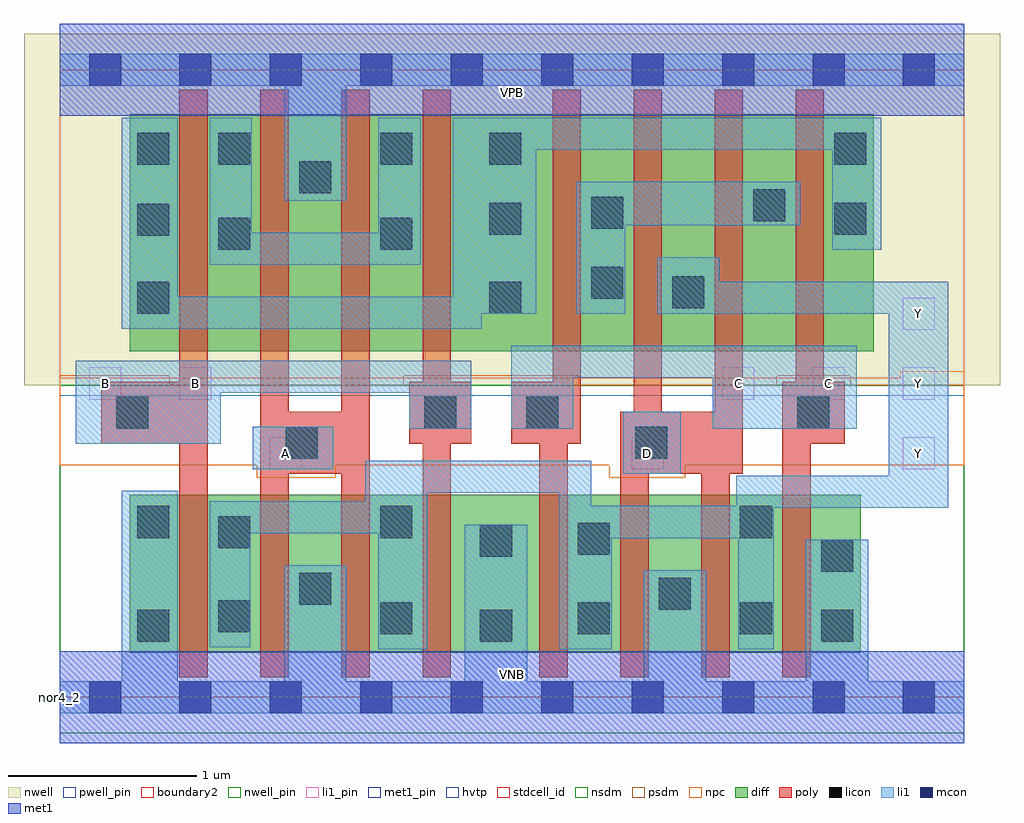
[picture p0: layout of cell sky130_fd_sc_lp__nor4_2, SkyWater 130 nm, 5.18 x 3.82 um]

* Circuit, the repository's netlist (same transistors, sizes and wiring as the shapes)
* Copyright 2020 The SkyWater PDK Authors
*
* Licensed under the Apache License, Version 2.0 (the "License");
* you may not use this file except in compliance with the License.
* You may obtain a copy of the License at
*
*     https://www.apache.org/licenses/LICENSE-2.0
*
* Unless required by applicable law or agreed to in writing, software
* distributed under the License is distributed on an "AS IS" BASIS,
* WITHOUT WARRANTIES OR CONDITIONS OF ANY KIND, either express or implied.
* See the License for the specific language governing permissions and
* limitations under the License.
*
* SPDX-License-Identifier: Apache-2.0

.SUBCKT sky130_fd_sc_lp__nor4_2 A B C D VGND VNB VPB VPWR Y
*.PININFO A:I B:I C:I D:I VGND:I VNB:I VPB:I VPWR:I Y:O
MMP0 VPWR A sndPA VPB sky130_fd_pr__pfet_01v8_hvt m=2 w=1.26U l=0.15U mult=1 sa=0.265
+ sb=0.265 sd=0.28 area=0.028 perim=0.76
MMP1 sndPA B sndPB VPB sky130_fd_pr__pfet_01v8_hvt m=2 w=1.26U l=0.15U mult=1 sa=0.265
+ sb=0.265 sd=0.28 area=0.028 perim=0.76
MMP2 sndPB C sndPC VPB sky130_fd_pr__pfet_01v8_hvt m=2 w=1.26U l=0.15U mult=1 sa=0.265
+ sb=0.265 sd=0.28 area=0.028 perim=0.76
MMP3 sndPC D Y VPB sky130_fd_pr__pfet_01v8_hvt m=2 w=1.26U l=0.15U mult=1 sa=0.265
+ sb=0.265 sd=0.28 area=0.028 perim=0.76
MMN0 Y A VGND VNB sky130_fd_pr__nfet_01v8 m=2 w=0.84U l=0.15U mult=1 sa=0.265 sb=0.265
+ sd=0.28 area=0.028 perim=0.76
MMN1 Y B VGND VNB sky130_fd_pr__nfet_01v8 m=2 w=0.84U l=0.15U mult=1 sa=0.265 sb=0.265
+ sd=0.28 area=0.028 perim=0.76
MMN2 Y C VGND VNB sky130_fd_pr__nfet_01v8 m=2 w=0.84U l=0.15U mult=1 sa=0.265 sb=0.265
+ sd=0.28 area=0.028 perim=0.76
MMN3 Y D VGND VNB sky130_fd_pr__nfet_01v8 m=2 w=0.84U l=0.15U mult=1 sa=0.265 sb=0.265
+ sd=0.28 area=0.028 perim=0.76
.ENDS sky130_fd_sc_lp__nor4_2

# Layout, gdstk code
import gdstk
lib = gdstk.Library(unit=1e-6, precision=1e-09)
def R(c, l, rs):  # rectangles x0, y0, x1, y1
    for r in rs: c.add(gdstk.rectangle(r[:2], r[2:], *l))
def A(c, l, x, y, w, h, nx, ny, dx, dy):  # array of equal rectangles
    R(c, l, [(x+i*dx, y+j*dy, x+i*dx+w, y+j*dy+h) for i in range(nx) for j in range(ny)])
def P(c, l, *ps):  # polygons
    for p in ps: c.add(gdstk.Polygon(p, *l))
nwell_pin = (64, 16)
nwell = (64, 20)
diff = (65, 20)
poly = (66, 20)
licon = (66, 44)
li1_pin = (67, 16)
li1 = (67, 20)
mcon = (67, 44)
met1_pin = (68, 16)
met1 = (68, 20)
hvtp = (78, 44)
stdcell_id = (81, 4)
nsdm = (93, 44)
psdm = (94, 20)
npc = (95, 20)
pwell_pin = (122, 16)
boundary2 = (236, 0)

sky130_fd_sc_lp__nor4_2 = lib.new_cell('sky130_fd_sc_lp__nor4_2')
R(sky130_fd_sc_lp__nor4_2, nwell_pin, [(0,3.085,4.8,3.33)])
R(sky130_fd_sc_lp__nor4_2, nwell, [(-0.19,1.655,4.99,3.52)])
R(sky130_fd_sc_lp__nor4_2, diff, [(0.37,0.235,4.25,1.075), (0.37,1.835,4.32,3.095)])
P(sky130_fd_sc_lp__nor4_2, poly, [(0.785,3.225),(0.635,3.225),(0.635,1.675),(0.22,1.675),(0.22,1.345),(0.635,1.345),(0.635,0.105),(0.785,0.105)],
  [(1.645,3.225),(1.495,3.225),(1.495,1.515),(1.215,1.515),(1.215,3.225),(1.065,3.225),(1.065,0.105),(1.215,0.105),(1.215,1.185),(1.495,1.185),(1.495,0.105),(1.645,0.105)],
  [(2.185,1.675),(2.075,1.675),(2.075,3.225),(1.925,3.225),(1.925,1.675),(1.855,1.675),(1.855,1.345),(1.925,1.345),(1.925,0.105),(2.075,0.105),(2.075,1.345),(2.185,1.345)],
  [(2.765,1.345),(2.765,3.225),(2.615,3.225),(2.615,1.675),(2.395,1.675),(2.395,1.345),(2.545,1.345),(2.545,0.105),(2.695,0.105),(2.695,1.345)],
  [(3.625,3.225),(3.475,3.225),(3.475,1.515),(3.195,1.515),(3.195,3.225),(3.045,3.225),(3.045,1.515),(2.975,1.515),(2.975,0.105),(3.125,0.105),(3.125,1.185),(3.405,1.185),(3.405,0.105),(3.555,0.105),(3.555,1.185),(3.625,1.185)],
  [(4.165,1.675),(4.055,1.675),(4.055,3.225),(3.905,3.225),(3.905,1.675),(3.835,1.675),(3.835,0.105),(3.985,0.105),(3.985,1.345),(4.165,1.345)])
R(sky130_fd_sc_lp__nor4_2, licon, [(0.41,0.295,0.58,0.465), (2.23,0.295,2.4,0.465), (4.04,0.295,4.21,0.465), (1.7,0.335,1.87,0.505), (2.75,0.335,2.92,0.505), (3.61,0.335,3.78,0.505), (0.84,0.345,1.01,0.515), (3.18,0.465,3.35,0.635), (1.27,0.49,1.44,0.66), (4.04,0.665,4.21,0.835), (2.23,0.745,2.4,0.915), (2.75,0.755,2.92,0.925), (0.84,0.79,1.01,0.96), (0.41,0.845,0.58,1.015), (1.7,0.845,1.87,1.015), (3.61,0.845,3.78,1.015), (1.2,1.265,1.37,1.435), (3.055,1.265,3.225,1.435), (0.3,1.425,0.47,1.595), (1.935,1.425,2.105,1.595), (2.475,1.425,2.645,1.595), (3.915,1.425,4.085,1.595), (0.41,2.035,0.58,2.205), (2.28,2.035,2.45,2.205), (3.25,2.065,3.42,2.235), (2.82,2.115,2.99,2.285), (0.84,2.375,1.01,2.545), (1.7,2.375,1.87,2.545), (0.41,2.45,0.58,2.62), (2.28,2.455,2.45,2.625), (4.11,2.455,4.28,2.625), (2.82,2.485,2.99,2.655), (3.68,2.525,3.85,2.695), (1.27,2.675,1.44,2.845), (0.41,2.825,0.58,2.995), (0.84,2.825,1.01,2.995), (1.7,2.825,1.87,2.995), (2.28,2.825,2.45,2.995), (4.11,2.825,4.28,2.995)])
A(sky130_fd_sc_lp__nor4_2, li1_pin, 3.515, 1.58, 0.17, 0.17, 3, 1, 0.48, 0)
R(sky130_fd_sc_lp__nor4_2, li1_pin, [(1.115,1.21,1.285,1.38), (3.035,1.21,3.205,1.38), (4.475,1.21,4.645,1.38), (0.155,1.58,0.325,1.75), (0.635,1.58,0.805,1.75), (4.475,1.95,4.645,2.12)])
R(sky130_fd_sc_lp__nor4_2, li1, [(2.99,1.185,3.295,1.515), (1.025,1.21,1.45,1.435)])
P(sky130_fd_sc_lp__nor4_2, li1, [(1.19,2.635),(1.19,3.245),(0,3.245),(0,3.415),(4.8,3.415),(4.8,3.245),(1.52,3.245),(1.52,2.635)],
  [(2.15,0.085),(2.15,0.915),(2.48,0.915),(2.48,0.085),(3.1,0.085),(3.1,0.675),(3.43,0.675),(3.43,0.085),(3.96,0.085),(3.96,0.835),(4.29,0.835),(4.29,0.085),(4.8,0.085),(4.8,-0.085),(0,-0.085),(0,0.085),(0.33,0.085),(0.33,1.095),(0.625,1.095),(0.625,0.085),(1.19,0.085),(1.19,0.7),(1.52,0.7),(1.52,0.085)],
  [(1.855,1.425),(1.855,1.615),(0.855,1.615),(0.855,1.345),(0.085,1.345),(0.085,1.785),(2.185,1.785),(2.185,1.425)],
  [(4.23,1.865),(4.23,1.425),(3.465,1.425),(3.465,1.695),(2.725,1.695),(2.725,1.425),(2.395,1.425),(2.395,1.865)],
  [(4.36,3.075),(2.085,3.075),(2.085,2.125),(0.625,2.125),(0.625,3.075),(0.33,3.075),(0.33,1.955),(2.24,1.955),(2.24,2.035),(2.53,2.035),(2.53,2.905),(4.1,2.905),(4.1,2.375),(4.36,2.375)],
  [(3,2.505),(3,2.035),(2.74,2.035),(2.74,2.735),(3.93,2.735),(3.93,2.505)],
  [(3.5,2.205),(4.715,2.205),(4.715,1.005),(3.79,1.005),(3.79,0.255),(3.6,0.255),(3.6,0.845),(2.93,0.845),(2.93,0.255),(2.65,0.255),(2.65,1.085),(1.95,1.085),(1.95,0.255),(1.69,0.255),(1.69,0.87),(1.01,0.87),(1.01,0.265),(0.795,0.265),(0.795,1.04),(1.62,1.04),(1.62,1.255),(2.82,1.255),(2.82,1.015),(3.59,1.015),(3.59,1.175),(4.4,1.175),(4.4,2.035),(3.17,2.035),(3.17,2.335),(3.5,2.335)],
  [(1.02,2.465),(1.69,2.465),(1.69,3.075),(1.915,3.075),(1.915,2.295),(0.795,2.295),(0.795,3.075),(1.02,3.075)])
A(sky130_fd_sc_lp__nor4_2, mcon, 0.155, -0.085, 0.17, 0.17, 10, 2, 0.48, 3.33)
R(sky130_fd_sc_lp__nor4_2, met1_pin, [(0,0,4.8,0.245), (0,3.085,4.8,3.33)])
R(sky130_fd_sc_lp__nor4_2, met1, [(0,-0.245,4.8,0.245), (0,3.085,4.8,3.575)])
R(sky130_fd_sc_lp__nor4_2, hvtp, [(0,1.6,4.8,3.33)])
R(sky130_fd_sc_lp__nor4_2, stdcell_id, [(0,0,4.8,3.33)])
R(sky130_fd_sc_lp__nor4_2, nsdm, [(0,-0.19,4.8,1.655)])
P(sky130_fd_sc_lp__nor4_2, psdm, [(4.8,3.52),(0,3.52),(0,1.705),(0.58,1.705),(0.58,1.655),(1.825,1.655),(1.825,1.705),(2.755,1.705),(2.755,1.655),(3.805,1.655),(3.805,1.705),(4.195,1.705),(4.195,1.655),(4.8,1.655)])
P(sky130_fd_sc_lp__nor4_2, npc, [(4.8,1.73),(4.46,1.73),(4.46,1.695),(0,1.695),(0,1.23),(1.045,1.23),(1.045,1.165),(1.465,1.165),(1.465,1.23),(2.915,1.23),(2.915,1.165),(3.32,1.165),(3.32,1.23),(4.8,1.23)])
R(sky130_fd_sc_lp__nor4_2, pwell_pin, [(0,0,4.8,0.245)])
R(sky130_fd_sc_lp__nor4_2, boundary2, [(0,0,4.8,3.33)])
sky130_fd_sc_lp__nor4_2.add(gdstk.Label('VNB', (2.4,0.123), layer=64, texttype=59))
sky130_fd_sc_lp__nor4_2.add(gdstk.Label('VPB', (2.4,3.208), layer=64, texttype=5))
sky130_fd_sc_lp__nor4_2.add(gdstk.Label('nor4_2', (0,0), layer=83, texttype=44))
sky130_fd_sc_lp__nor4_2.add(gdstk.Label('VPWR', (2.4,3.208), layer=68, texttype=5))
sky130_fd_sc_lp__nor4_2.add(gdstk.Label('VGND', (2.4,0.123), layer=68, texttype=5))
sky130_fd_sc_lp__nor4_2.add(gdstk.Label('A', (1.2,1.295), layer=67, texttype=5))
sky130_fd_sc_lp__nor4_2.add(gdstk.Label('B', (0.24,1.665), layer=67, texttype=5))
sky130_fd_sc_lp__nor4_2.add(gdstk.Label('B', (0.72,1.665), layer=67, texttype=5))
sky130_fd_sc_lp__nor4_2.add(gdstk.Label('D', (3.12,1.295), layer=67, texttype=5))
sky130_fd_sc_lp__nor4_2.add(gdstk.Label('C', (3.6,1.665), layer=67, texttype=5))
sky130_fd_sc_lp__nor4_2.add(gdstk.Label('C', (4.08,1.665), layer=67, texttype=5))
sky130_fd_sc_lp__nor4_2.add(gdstk.Label('Y', (4.56,1.665), layer=67, texttype=5))
sky130_fd_sc_lp__nor4_2.add(gdstk.Label('Y', (4.56,2.035), layer=67, texttype=5))
sky130_fd_sc_lp__nor4_2.add(gdstk.Label('Y', (4.56,1.295), layer=67, texttype=5))

lib.write_gds('sky130_fd_sc_lp__nor4_2.gds')
